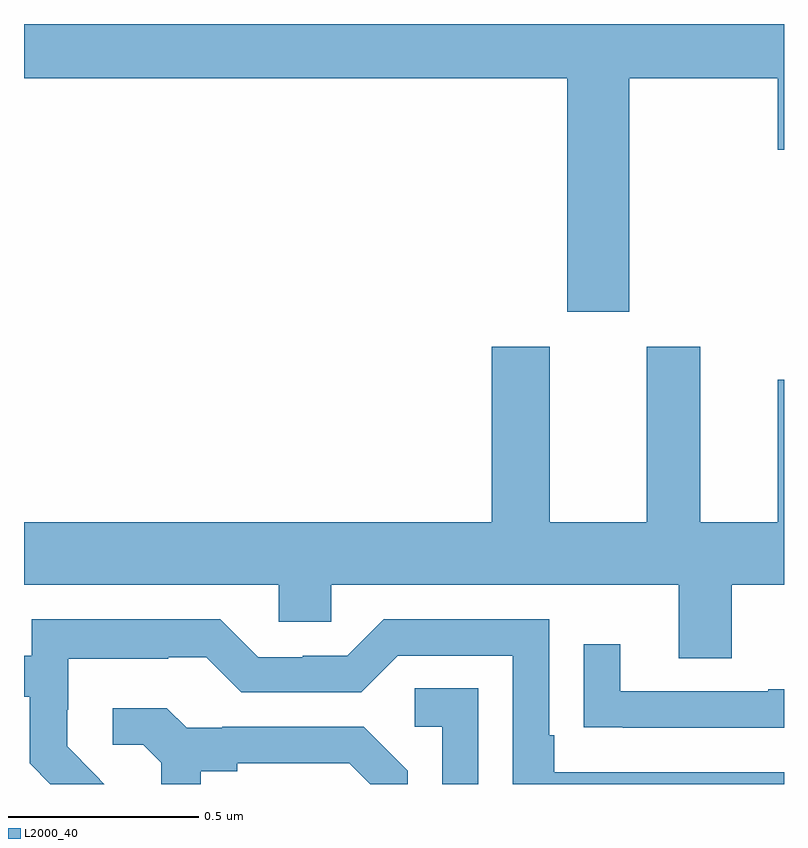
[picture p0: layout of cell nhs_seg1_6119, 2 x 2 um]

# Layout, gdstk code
import gdstk
lib = gdstk.Library(unit=1e-6, precision=1e-09)
def P(c, l, *ps):  # polygons
    for p in ps: c.add(gdstk.Polygon(p, *l))
L2000_40 = (2000, 40)

nhs_seg1_6119 = lib.new_cell('nhs_seg1_6119')
P(nhs_seg1_6119, L2000_40, [(188.593,561.056),(188.984,561.056),(188.984,560.868),(189,560.868),(189,561.199),(187,561.199),(187,561.056),(188.429,561.056),(188.429,560.442),(188.593,560.442)],
  [(188.863,559.724),(189,559.724),(189,560.263),(188.984,560.263),(188.984,559.888),(188.779,559.888),(188.779,560.35),(188.639,560.35),(188.639,559.888),(188.383,559.888),(188.383,560.35),(188.231,560.35),(188.231,559.888),(187,559.888),(187,559.724),(187.671,559.724),(187.671,559.626),(187.809,559.626),(187.809,559.724),(188.723,559.724),(188.723,559.53),(188.863,559.53)],
  [(187.187,559.223),(187.188,559.224),(187.114,559.298),(187.114,559.395),(187.116,559.395),(187.116,559.529),(187.379,559.529),(187.379,559.533),(187.479,559.533),(187.572,559.44),(187.887,559.44),(187.983,559.536),(188.286,559.536),(188.286,559.199),(189,559.199),(189,559.23),(188.395,559.23),(188.395,559.327),(188.382,559.327),(188.382,559.632),(187.947,559.632),(187.851,559.536),(187.733,559.536),(187.733,559.533),(187.617,559.533),(187.517,559.633),(187.02,559.633),(187.02,559.536),(187,559.536),(187,559.428),(187.015,559.428),(187.015,559.253),(187.069,559.199),(187.211,559.199)],
  [(189,559.448),(188.959,559.448),(188.959,559.443),(188.569,559.443),(188.569,559.567),(188.473,559.567),(188.473,559.348),(188.575,559.348),(188.575,559.347),(189,559.347)],
  [(188.196,559.451),(188.028,559.451),(188.028,559.35),(188.1,559.35),(188.1,559.199),(188.196,559.199)],
  [(187.465,559.232),(187.561,559.232),(187.561,559.254),(187.856,559.254),(187.911,559.199),(188.01,559.199),(188.01,559.234),(187.894,559.35),(187.522,559.35),(187.522,559.347),(187.428,559.347),(187.376,559.399),(187.233,559.399),(187.233,559.302),(187.314,559.302),(187.361,559.255),(187.361,559.199),(187.465,559.199)])

lib.write_gds('nhs_seg1_6119.gds')
